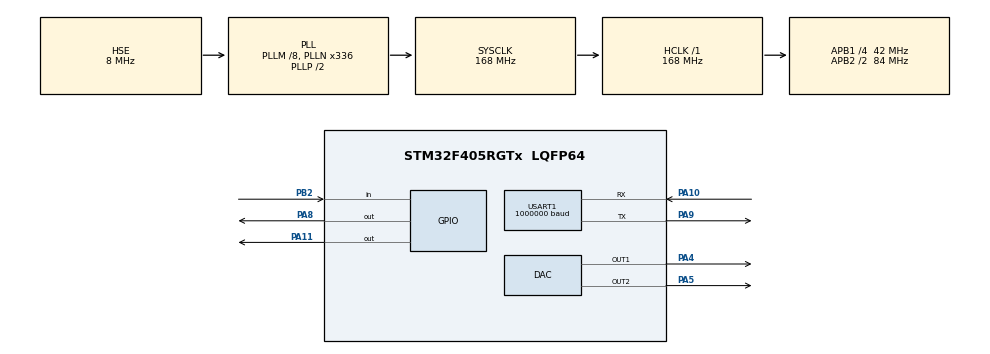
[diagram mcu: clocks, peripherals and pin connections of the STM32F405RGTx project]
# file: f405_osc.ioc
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Mcu.Family=STM32F4
Mcu.Name=STM32F405RGTx
Mcu.Package=LQFP64
NVIC.PriorityGroup=NVIC_PRIORITYGROUP_4
NVIC.TIM2_IRQn=true\:0\:0\:false\:false\:true\:true\:true
NVIC.USART1_IRQn=true\:0\:0\:false\:false\:true\:true\:true
PA10.Mode=Asynchronous
PA10.Signal=USART1_RX
PA11.GPIO_ModeDefaultOutputPP=GPIO_MODE_OUTPUT_OD
PA11.GPIO_Speed=GPIO_SPEED_FREQ_VERY_HIGH
PA11.Signal=GPIO_Output
PA13.Mode=Serial_Wire
PA13.Signal=SYS_JTMS-SWDIO
PA14.Mode=Serial_Wire
PA14.Signal=SYS_JTCK-SWCLK
PA4.Signal=COMP_DAC1_group
PA5.Signal=COMP_DAC2_group
PA8.GPIO_ModeDefaultOutputPP=GPIO_MODE_OUTPUT_OD
PA8.GPIO_Speed=GPIO_SPEED_FREQ_VERY_HIGH
PA8.Signal=GPIO_Output
PA9.Mode=Asynchronous
PA9.Signal=USART1_TX
PB2.GPIO_PuPd=GPIO_PULLUP
PB2.Signal=GPIO_Input
PH0-OSC_IN.Mode=HSE-External-Oscillator
PH0-OSC_IN.Signal=RCC_OSC_IN
PH1-OSC_OUT.Mode=HSE-External-Oscillator
PH1-OSC_OUT.Signal=RCC_OSC_OUT
ProjectManager.HeapSize=0x200
ProjectManager.StackSize=0x400
ProjectManager.TargetToolchain=STM32CubeIDE
RCC.48MHZClocksFreq_Value=84000000
RCC.AHBFreq_Value=168000000
RCC.APB1CLKDivider=RCC_HCLK_DIV4
RCC.APB1Freq_Value=42000000
RCC.APB1TimFreq_Value=84000000
RCC.APB2CLKDivider=RCC_HCLK_DIV2
RCC.APB2Freq_Value=84000000
RCC.APB2TimFreq_Value=168000000
RCC.CortexFreq_Value=168000000
RCC.HCLKFreq_Value=168000000
RCC.HSE_VALUE=8000000
RCC.HSI_VALUE=16000000
RCC.LSE_VALUE=32768
RCC.PLLM=8
RCC.PLLN=336
RCC.PLLSourceVirtual=RCC_PLLSOURCE_HSE
RCC.SYSCLKFreq_VALUE=168000000
RCC.SYSCLKSource=RCC_SYSCLKSOURCE_PLLCLK
RCC.VCOOutputFreq_Value=336000000
SH.COMP_DAC1_group.0=DAC_OUT1,DAC_OUT1
SH.COMP_DAC2_group.0=DAC_OUT2,DAC_OUT2
TIM1.Period=255
TIM1.Prescaler=0
TIM2.Channel-Output\ Compare1\ No\ Output=TIM_CHANNEL_1
TIM2.CounterMode=TIM_COUNTERMODE_DOWN
TIM2.Period=255
TIM2.Prescaler=127
TIM3.Period=255
USART1.BaudRate=1000000
USART1.VirtualMode=VM_ASYNC
VP_TIM1_VS_ClockSourceINT.Mode=Internal
VP_TIM2_VS_no_output1.Mode=Output Compare1 No Output
VP_TIM3_VS_ClockSourceINT.Mode=Internal
board=custom

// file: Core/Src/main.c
/* USER CODE BEGIN Header */
/**
  ******************************************************************************
  * @file           : main.c
  * @brief          : Main program body
  ******************************************************************************
  * @attention
  *
  * <h2><center>&copy; Copyright (c) 2022 STMicroelectronics.
  * All rights reserved.</center></h2>
  *
  * This software component is licensed by ST under BSD 3-Clause license,
  * the "License"; You may not use this file except in compliance with the
  * License. You may obtain a copy of the License at:
  *                        opensource.org/licenses/BSD-3-Clause
  *
  ******************************************************************************
  */
/* USER CODE END Header */
#include "main.h"

/* USER CODE BEGIN Includes */
#include "test_im.h"
/* USER CODE END Includes */

/* USER CODE BEGIN PD */
#define BUFSIZE 8192
#define INIT_PRESC 115
#define DECR_PRESC 15
/* USER CODE END PD */

DAC_HandleTypeDef hdac;

TIM_HandleTypeDef htim1;
TIM_HandleTypeDef htim2;
TIM_HandleTypeDef htim3;

UART_HandleTypeDef huart1;

/* USER CODE BEGIN PV */
//extern static uint8_t test_im[];
uint8_t buff[BUFSIZE] = {0,};
uint8_t v = 0;
uint8_t presc1 = INIT_PRESC;
/* USER CODE END PV */

void SystemClock_Config(void);
static void MX_GPIO_Init(void);
static void MX_TIM1_Init(void);
static void MX_USART1_UART_Init(void);
static void MX_DAC_Init(void);
static void MX_TIM3_Init(void);
static void MX_TIM2_Init(void);

int main(void)
{

  /* MCU Configuration--------------------------------------------------------*/

  /* Reset of all peripherals, Initializes the Flash interface and the Systick. */
  HAL_Init();

  /* Configure the system clock */
  SystemClock_Config();

  /* Initialize all configured peripherals */
  MX_GPIO_Init();
  MX_TIM1_Init();
  MX_USART1_UART_Init();
  MX_DAC_Init();
  MX_TIM3_Init();
  MX_TIM2_Init();
  /* USER CODE BEGIN 2 */

  HAL_TIM_Base_Start_IT(&htim2);
  HAL_DAC_Start(&hdac,DAC_CHANNEL_1);
  HAL_DAC_Start(&hdac,DAC_CHANNEL_2);
  TIM3->CCR4=127;
  TIM2->PSC = presc1;
  for (int i = 0; i < 8192; i++) {
	  buff[i] = test_im[i];
  }

  /* USER CODE END 2 */

  /* Infinite loop */
  /* USER CODE BEGIN WHILE */
  while (1)
  {
	HAL_UART_Receive_IT(&huart1, (uint8_t*)buff, BUFSIZE);

	DAC->DHR12R1 = v*16;
	DAC->DHR12R2 = (TIM2->CNT)*16;
	uint8_t bit_counter = (TIM2->CNT)%8;
	uint8_t byte_counter = (TIM2->CNT)/8;
	if ((buff[v*32+byte_counter]>>bit_counter)%2) {
		GPIOA->ODR |= (1<<8);
		GPIOA->ODR |= (1<<11);
	}
	else {
		GPIOA->ODR &= ~(1<<8);
		GPIOA->ODR &= ~(1<<11);
	}

	if (HAL_GPIO_ReadPin (GPIOB, GPIO_PIN_2) == 0) {
		presc1 -= DECR_PRESC;
		TIM2->PSC = presc1;
		HAL_Delay(200);
	}

    /* USER CODE END WHILE */

  }
}

void SystemClock_Config(void)
{
  RCC_OscInitTypeDef RCC_OscInitStruct = {0};
  RCC_ClkInitTypeDef RCC_ClkInitStruct = {0};

  /** Configure the main internal regulator output voltage
  */
  __HAL_RCC_PWR_CLK_ENABLE();
  __HAL_PWR_VOLTAGESCALING_CONFIG(PWR_REGULATOR_VOLTAGE_SCALE1);
  /** Initializes the RCC Oscillators according to the specified parameters
  * in the RCC_OscInitTypeDef structure.
  */
  RCC_OscInitStruct.OscillatorType = RCC_OSCILLATORTYPE_HSE;
  RCC_OscInitStruct.HSEState = RCC_HSE_ON;
  RCC_OscInitStruct.PLL.PLLState = RCC_PLL_ON;
  RCC_OscInitStruct.PLL.PLLSource = RCC_PLLSOURCE_HSE;
  RCC_OscInitStruct.PLL.PLLM = 8;
  RCC_OscInitStruct.PLL.PLLN = 336;
  RCC_OscInitStruct.PLL.PLLP = RCC_PLLP_DIV2;
  RCC_OscInitStruct.PLL.PLLQ = 4;
  if (HAL_RCC_OscConfig(&RCC_OscInitStruct) != HAL_OK)
  {
    Error_Handler();
  }
  /** Initializes the CPU, AHB and APB buses clocks
  */
  RCC_ClkInitStruct.ClockType = RCC_CLOCKTYPE_HCLK|RCC_CLOCKTYPE_SYSCLK
                              |RCC_CLOCKTYPE_PCLK1|RCC_CLOCKTYPE_PCLK2;
  RCC_ClkInitStruct.SYSCLKSource = RCC_SYSCLKSOURCE_PLLCLK;
  RCC_ClkInitStruct.AHBCLKDivider = RCC_SYSCLK_DIV1;
  RCC_ClkInitStruct.APB1CLKDivider = RCC_HCLK_DIV4;
  RCC_ClkInitStruct.APB2CLKDivider = RCC_HCLK_DIV2;

  if (HAL_RCC_ClockConfig(&RCC_ClkInitStruct, FLASH_LATENCY_5) != HAL_OK)
  {
    Error_Handler();
  }
}

static void MX_DAC_Init(void)
{

  DAC_ChannelConfTypeDef sConfig = {0};

  /** DAC Initialization
  */
  hdac.Instance = DAC;
  if (HAL_DAC_Init(&hdac) != HAL_OK)
  {
    Error_Handler();
  }
  /** DAC channel OUT1 config
  */
  sConfig.DAC_Trigger = DAC_TRIGGER_NONE;
  sConfig.DAC_OutputBuffer = DAC_OUTPUTBUFFER_ENABLE;
  if (HAL_DAC_ConfigChannel(&hdac, &sConfig, DAC_CHANNEL_1) != HAL_OK)
  {
    Error_Handler();
  }
  /** DAC channel OUT2 config
  */
  if (HAL_DAC_ConfigChannel(&hdac, &sConfig, DAC_CHANNEL_2) != HAL_OK)
  {
    Error_Handler();
  }

}

static void MX_TIM1_Init(void)
{

  TIM_ClockConfigTypeDef sClockSourceConfig = {0};
  TIM_MasterConfigTypeDef sMasterConfig = {0};

  htim1.Instance = TIM1;
  htim1.Init.Prescaler = 0;
  htim1.Init.CounterMode = TIM_COUNTERMODE_UP;
  htim1.Init.Period = 255;
  htim1.Init.ClockDivision = TIM_CLOCKDIVISION_DIV1;
  htim1.Init.RepetitionCounter = 0;
  htim1.Init.AutoReloadPreload = TIM_AUTORELOAD_PRELOAD_DISABLE;
  if (HAL_TIM_Base_Init(&htim1) != HAL_OK)
  {
    Error_Handler();
  }
  sClockSourceConfig.ClockSource = TIM_CLOCKSOURCE_INTERNAL;
  if (HAL_TIM_ConfigClockSource(&htim1, &sClockSourceConfig) != HAL_OK)
  {
    Error_Handler();
  }
  sMasterConfig.MasterOutputTrigger = TIM_TRGO_RESET;
  sMasterConfig.MasterSlaveMode = TIM_MASTERSLAVEMODE_DISABLE;
  if (HAL_TIMEx_MasterConfigSynchronization(&htim1, &sMasterConfig) != HAL_OK)
  {
    Error_Handler();
  }

}

static void MX_TIM2_Init(void)
{

  TIM_MasterConfigTypeDef sMasterConfig = {0};
  TIM_OC_InitTypeDef sConfigOC = {0};

  htim2.Instance = TIM2;
  htim2.Init.Prescaler = 127;
  htim2.Init.CounterMode = TIM_COUNTERMODE_DOWN;
  htim2.Init.Period = 255;
  htim2.Init.ClockDivision = TIM_CLOCKDIVISION_DIV1;
  htim2.Init.AutoReloadPreload = TIM_AUTORELOAD_PRELOAD_DISABLE;
  if (HAL_TIM_OC_Init(&htim2) != HAL_OK)
  {
    Error_Handler();
  }
  sMasterConfig.MasterOutputTrigger = TIM_TRGO_RESET;
  sMasterConfig.MasterSlaveMode = TIM_MASTERSLAVEMODE_DISABLE;
  if (HAL_TIMEx_MasterConfigSynchronization(&htim2, &sMasterConfig) != HAL_OK)
  {
    Error_Handler();
  }
  sConfigOC.OCMode = TIM_OCMODE_TIMING;
  sConfigOC.Pulse = 0;
  sConfigOC.OCPolarity = TIM_OCPOLARITY_HIGH;
  sConfigOC.OCFastMode = TIM_OCFAST_DISABLE;
  if (HAL_TIM_OC_ConfigChannel(&htim2, &sConfigOC, TIM_CHANNEL_1) != HAL_OK)
  {
    Error_Handler();
  }

}

static void MX_TIM3_Init(void)
{

  TIM_ClockConfigTypeDef sClockSourceConfig = {0};
  TIM_MasterConfigTypeDef sMasterConfig = {0};

  htim3.Instance = TIM3;
  htim3.Init.Prescaler = 0;
  htim3.Init.CounterMode = TIM_COUNTERMODE_UP;
  htim3.Init.Period = 255;
  htim3.Init.ClockDivision = TIM_CLOCKDIVISION_DIV1;
  htim3.Init.AutoReloadPreload = TIM_AUTORELOAD_PRELOAD_DISABLE;
  if (HAL_TIM_Base_Init(&htim3) != HAL_OK)
  {
    Error_Handler();
  }
  sClockSourceConfig.ClockSource = TIM_CLOCKSOURCE_INTERNAL;
  if (HAL_TIM_ConfigClockSource(&htim3, &sClockSourceConfig) != HAL_OK)
  {
    Error_Handler();
  }
  sMasterConfig.MasterOutputTrigger = TIM_TRGO_RESET;
  sMasterConfig.MasterSlaveMode = TIM_MASTERSLAVEMODE_DISABLE;
  if (HAL_TIMEx_MasterConfigSynchronization(&htim3, &sMasterConfig) != HAL_OK)
  {
    Error_Handler();
  }

}

static void MX_USART1_UART_Init(void)
{

  huart1.Instance = USART1;
  huart1.Init.BaudRate = 1000000;
  huart1.Init.WordLength = UART_WORDLENGTH_8B;
  huart1.Init.StopBits = UART_STOPBITS_1;
  huart1.Init.Parity = UART_PARITY_NONE;
  huart1.Init.Mode = UART_MODE_TX_RX;
  huart1.Init.HwFlowCtl = UART_HWCONTROL_NONE;
  huart1.Init.OverSampling = UART_OVERSAMPLING_16;
  if (HAL_UART_Init(&huart1) != HAL_OK)
  {
    Error_Handler();
  }

}

static void MX_GPIO_Init(void)
{
  GPIO_InitTypeDef GPIO_InitStruct = {0};

  /* GPIO Ports Clock Enable */
  __HAL_RCC_GPIOH_CLK_ENABLE();
  __HAL_RCC_GPIOA_CLK_ENABLE();
  __HAL_RCC_GPIOB_CLK_ENABLE();

  /*Configure GPIO pin Output Level */
  HAL_GPIO_WritePin(GPIOA, GPIO_PIN_8|GPIO_PIN_11, GPIO_PIN_RESET);

  /*Configure GPIO pin : PB2 */
  GPIO_InitStruct.Pin = GPIO_PIN_2;
  GPIO_InitStruct.Mode = GPIO_MODE_INPUT;
  GPIO_InitStruct.Pull = GPIO_PULLUP;
  HAL_GPIO_Init(GPIOB, &GPIO_InitStruct);

  /*Configure GPIO pins : PA8 PA11 */
  GPIO_InitStruct.Pin = GPIO_PIN_8|GPIO_PIN_11;
  GPIO_InitStruct.Mode = GPIO_MODE_OUTPUT_OD;
  GPIO_InitStruct.Pull = GPIO_NOPULL;
  GPIO_InitStruct.Speed = GPIO_SPEED_FREQ_VERY_HIGH;
  HAL_GPIO_Init(GPIOA, &GPIO_InitStruct);

}

void Error_Handler(void)
{
  __disable_irq();
  while (1)
  {
  }
}

/************************ (C) COPYRIGHT STMicroelectronics *****END OF FILE****/
